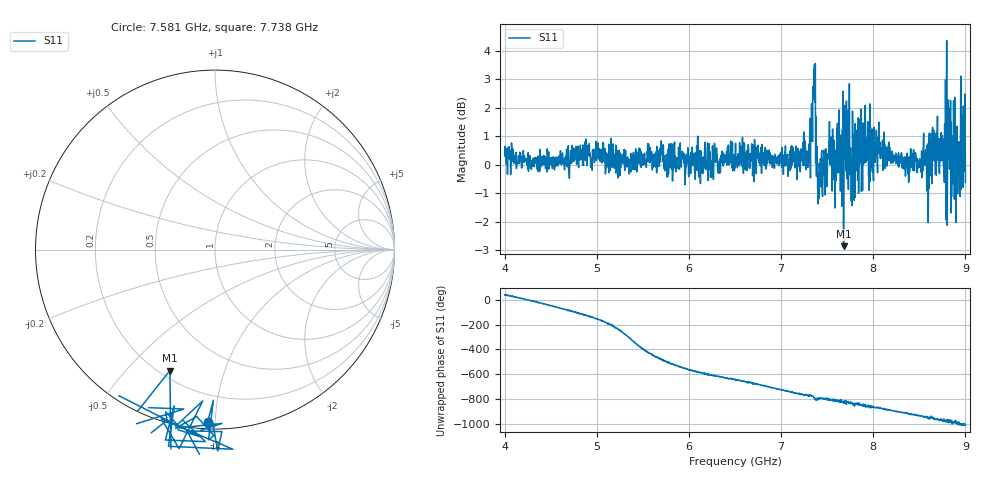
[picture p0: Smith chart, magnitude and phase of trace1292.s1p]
! Created with skrf 1.8.0 (http://scikit-rf.org).
# Hz S RI R 50.0
!freq ReS11 ImS11
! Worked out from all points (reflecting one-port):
!   1601 points, 4 GHz to 9 GHz, reference 50 ohm
!   lowest |S11| = -2.9 dB at 7.678 GHz (marker M1), VSWR 6.13, Z = 11.9 - j33.4 ohm
!   phase of S11 starts at 41 deg and turns -1053 deg over the sweep
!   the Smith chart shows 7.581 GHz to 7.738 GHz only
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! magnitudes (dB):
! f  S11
! 4 GHz  0.4
! 4.625 GHz  0.2
! 5.003 GHz  0.5
! 5.25 GHz  -0.4
! 5.572 GHz  0.5
! 5.875 GHz  0.1
! 6.5 GHz  -0.1
! 7.125 GHz  0.4
! 7.294 GHz  0.0
! 7.316 GHz  0.4
! 7.347 GHz  2.8
! 7.369 GHz  3.5
! 7.409 GHz  -1.2
! 7.538 GHz  0.5
! 7.578 GHz  0.7
! 7.678 GHz  -2.9
! 7.75 GHz  -0.4
! 7.775 GHz  1.9
! 7.844 GHz  0.3
! 7.922 GHz  0.2
! 8.375 GHz  0.3
! 8.581 GHz  -0.9
! 8.656 GHz  1.2
! 8.766 GHz  -0.1
! 8.819 GHz  0.2
! 8.875 GHz  0.2
! 8.972 GHz  0.6
! 9 GHz  -0.6
